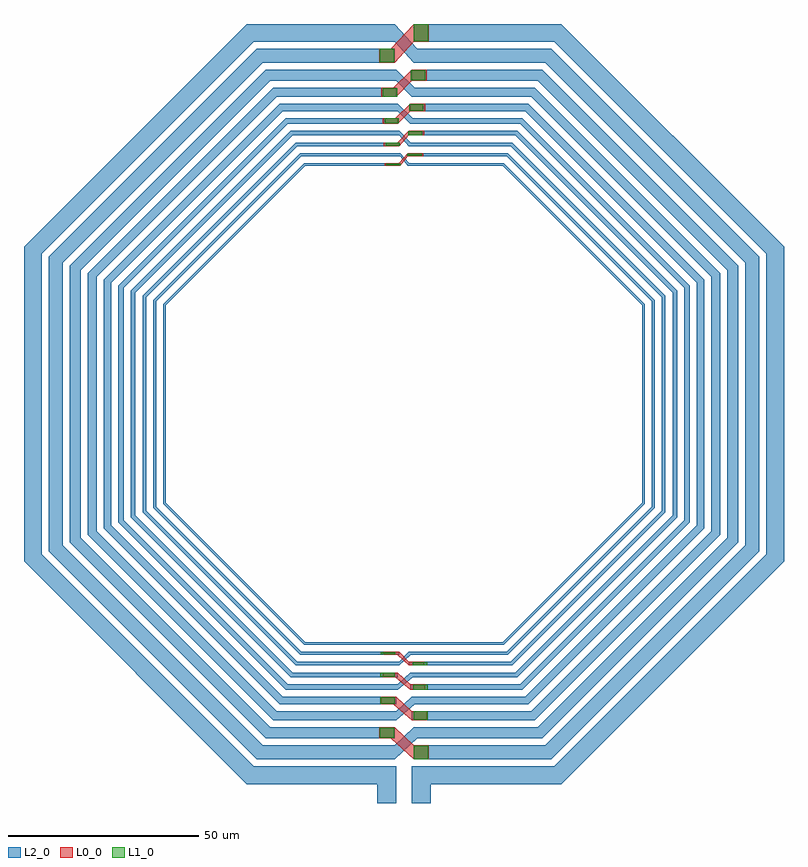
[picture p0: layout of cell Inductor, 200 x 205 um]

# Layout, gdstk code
import gdstk
lib = gdstk.Library(unit=1e-6, precision=1e-09)
def R(c, l, rs):  # rectangles x0, y0, x1, y1
    for r in rs: c.add(gdstk.rectangle(r[:2], r[2:], *l))
def P(c, l, *ps):  # polygons
    for p in ps: c.add(gdstk.Polygon(p, *l))
L0_0 = (0, 0)
L1_0 = (1, 0)
L2_0 = (2, 0)

inductor = lib.new_cell('Inductor')
P(inductor, L0_0, [(6.5,95.381),(6.5,100),(2.5,100),(-3.5,93.533),(-6.5,93.533),(-6.5,89.837),(-2.5,89.837),(2.5,95.381)],
  [(6,85.033),(6,87.99),(2,87.99),(-2.8,83.185),(-6,83.185),(-6,80.82),(-2,80.82),(2,85.033)],
  [(5.6,77.08),(5.6,78.973),(1.6,78.973),(-2.24,75.233),(-5.6,75.233),(-5.6,73.719),(-1.6,73.719),(1.6,77.08)],
  [(5.28,70.66),(5.28,71.871),(1.28,71.871),(-1.792,68.812),(-5.28,68.812),(-5.28,67.844),(-1.28,67.844),(1.28,70.66)],
  [(5.024,65.221),(5.024,65.996),(1.024,65.996),(-1.434,63.373),(-5.024,63.373),(-5.024,62.753),(-1.024,62.753),(1.024,65.221)],
  [(6.5,-89.837),(6.5,-93.533),(2.5,-93.533),(-3.5,-87.99),(-6.5,-87.99),(-6.5,-85.033),(-2.5,-85.033),(2.5,-89.837)],
  [(6,-80.82),(6,-83.185),(2,-83.185),(-2.8,-78.973),(-6,-78.973),(-6,-77.08),(-2,-77.08),(2,-80.82)],
  [(5.6,-73.719),(5.6,-75.233),(1.6,-75.233),(-2.24,-71.871),(-5.6,-71.871),(-5.6,-70.66),(-1.6,-70.66),(1.6,-73.719)],
  [(5.28,-67.844),(5.28,-68.812),(1.28,-68.812),(-1.792,-65.996),(-5.28,-65.996),(-5.28,-65.221),(-1.28,-65.221),(1.28,-67.844)])
R(inductor, L1_0, [(2.6,-93.433,6.4,-89.937), (-6.4,-87.89,-2.6,-85.133), (2.5,-83.085,6.3,-80.92), (-6.3,-78.873,-2.5,-77.18), (2.4,-75.133,6.2,-73.819), (-6.2,-71.771,-2.4,-70.76), (2.3,-68.712,6.1,-67.944), (-6.1,-65.896,-2.3,-65.321), (-4.719,62.853,-0.919,63.273), (0.919,65.321,4.719,65.896), (-4.855,67.944,-1.055,68.712), (1.055,70.76,4.855,71.771), (-5.124,73.819,-1.324,75.133), (1.324,77.18,5.124,78.873), (-5.6,80.92,-1.8,83.085), (1.8,85.133,5.6,87.89), (-6.4,89.937,-2.6,93.433), (2.6,95.481,6.4,99.9)])
R(inductor, L2_0, [(-37.212,-93.533,-2.5,-89.837), (2.5,-93.533,37.212,-89.837), (-35.222,-87.99,-2.5,-85.033), (2.5,-87.99,35.222,-85.033), (-33.477,-83.185,-2,-80.82), (2,-83.185,33.477,-80.82), (-31.928,-78.973,-2,-77.08), (2,-78.973,31.928,-77.08), (-30.535,-75.233,-1.6,-73.719), (1.6,-75.233,30.535,-73.719), (-29.268,-71.871,-1.6,-70.66), (1.6,-71.871,29.268,-70.66), (-28.102,-68.812,-1.28,-67.844), (1.28,-68.812,28.102,-67.844), (-27.015,-65.996,-1.28,-65.221), (1.28,-65.996,27.015,-65.221), (-25.993,-63.373,25.993,-62.753), (-25.993,62.753,-1.024,63.373), (1.024,62.753,25.993,63.373), (-27.015,65.221,-1.024,65.996), (1.024,65.221,27.015,65.996), (-28.102,67.844,-1.28,68.812), (1.28,67.844,28.102,68.812), (-29.268,70.66,-1.28,71.871), (1.28,70.66,29.268,71.871), (-30.535,73.719,-1.6,75.233), (1.6,73.719,30.535,75.233), (-31.928,77.08,-1.6,78.973), (1.6,77.08,31.928,78.973), (-33.477,80.82,-2,83.185), (2,80.82,33.477,83.185), (-35.222,85.033,-2,87.99), (2,85.033,35.222,87.99), (-37.212,89.837,-2.5,93.533), (2.5,89.837,37.212,93.533), (-39.508,95.381,-2.5,100), (2.5,95.381,39.508,100)])
P(inductor, L2_0, [(-41.421,100),(-100,41.421),(-100,-41.421),(-41.421,-100),(-39.508,-100),(-39.508,-95.381),(-95.381,-39.508),(-95.381,39.508),(-39.508,95.381),(-39.508,100)],
  [(41.421,-100),(100,-41.421),(100,41.421),(41.421,100),(39.508,100),(39.508,95.381),(95.381,39.508),(95.381,-39.508),(39.508,-95.381),(39.508,-100)],
  [(-38.743,93.533),(-93.533,38.743),(-93.533,-38.743),(-38.743,-93.533),(-37.212,-93.533),(-37.212,-89.837),(-89.837,-37.212),(-89.837,37.212),(-37.212,89.837),(-37.212,93.533)],
  [(38.743,-93.533),(93.533,-38.743),(93.533,38.743),(38.743,93.533),(37.212,93.533),(37.212,89.837),(89.837,37.212),(89.837,-37.212),(37.212,-89.837),(37.212,-93.533)],
  [(-36.446,87.99),(-87.99,36.446),(-87.99,-36.446),(-36.446,-87.99),(-35.222,-87.99),(-35.222,-85.033),(-85.033,-35.222),(-85.033,35.222),(-35.222,85.033),(-35.222,87.99)],
  [(36.446,-87.99),(87.99,-36.446),(87.99,36.446),(36.446,87.99),(35.222,87.99),(35.222,85.033),(85.033,35.222),(85.033,-35.222),(35.222,-85.033),(35.222,-87.99)],
  [(-34.457,83.185),(-83.185,34.457),(-83.185,-34.457),(-34.457,-83.185),(-33.477,-83.185),(-33.477,-80.82),(-80.82,-33.477),(-80.82,33.477),(-33.477,80.82),(-33.477,83.185)],
  [(34.457,-83.185),(83.185,-34.457),(83.185,34.457),(34.457,83.185),(33.477,83.185),(33.477,80.82),(80.82,33.477),(80.82,-33.477),(33.477,-80.82),(33.477,-83.185)],
  [(-32.711,78.973),(-78.973,32.711),(-78.973,-32.711),(-32.711,-78.973),(-31.928,-78.973),(-31.928,-77.08),(-77.08,-31.928),(-77.08,31.928),(-31.928,77.08),(-31.928,78.973)],
  [(32.711,-78.973),(78.973,-32.711),(78.973,32.711),(32.711,78.973),(31.928,78.973),(31.928,77.08),(77.08,31.928),(77.08,-31.928),(31.928,-77.08),(31.928,-78.973)],
  [(-31.162,75.233),(-75.233,31.162),(-75.233,-31.162),(-31.162,-75.233),(-30.535,-75.233),(-30.535,-73.719),(-73.719,-30.535),(-73.719,30.535),(-30.535,73.719),(-30.535,75.233)],
  [(31.162,-75.233),(75.233,-31.162),(75.233,31.162),(31.162,75.233),(30.535,75.233),(30.535,73.719),(73.719,30.535),(73.719,-30.535),(30.535,-73.719),(30.535,-75.233)],
  [(-29.77,71.871),(-71.871,29.77),(-71.871,-29.77),(-29.77,-71.871),(-29.268,-71.871),(-29.268,-70.66),(-70.66,-29.268),(-70.66,29.268),(-29.268,70.66),(-29.268,71.871)],
  [(29.77,-71.871),(71.871,-29.77),(71.871,29.77),(29.77,71.871),(29.268,71.871),(29.268,70.66),(70.66,29.268),(70.66,-29.268),(29.268,-70.66),(29.268,-71.871)],
  [(-28.503,68.812),(-68.812,28.503),(-68.812,-28.503),(-28.503,-68.812),(-28.102,-68.812),(-28.102,-67.844),(-67.844,-28.102),(-67.844,28.102),(-28.102,67.844),(-28.102,68.812)],
  [(28.503,-68.812),(68.812,-28.503),(68.812,28.503),(28.503,68.812),(28.102,68.812),(28.102,67.844),(67.844,28.102),(67.844,-28.102),(28.102,-67.844),(28.102,-68.812)],
  [(-27.336,65.996),(-65.996,27.336),(-65.996,-27.336),(-27.336,-65.996),(-27.015,-65.996),(-27.015,-65.221),(-65.221,-27.015),(-65.221,27.015),(-27.015,65.221),(-27.015,65.996)],
  [(27.336,-65.996),(65.996,-27.336),(65.996,27.336),(27.336,65.996),(27.015,65.996),(27.015,65.221),(65.221,27.015),(65.221,-27.015),(27.015,-65.221),(27.015,-65.996)],
  [(-26.25,63.373),(-63.373,26.25),(-63.373,-26.25),(-26.25,-63.373),(-25.993,-63.373),(-25.993,-62.753),(-62.753,-25.993),(-62.753,25.993),(-25.993,62.753),(-25.993,63.373)],
  [(26.25,-63.373),(63.373,-26.25),(63.373,26.25),(26.25,63.373),(25.993,63.373),(25.993,62.753),(62.753,25.993),(62.753,-25.993),(25.993,-62.753),(25.993,-63.373)],
  [(2,-105),(7,-105),(7,-100),(39.508,-100),(39.508,-95.381),(2,-95.381)],
  [(-2,-105),(-7,-105),(-7,-100),(-39.508,-100),(-39.508,-95.381),(-2,-95.381)],
  [(-2.5,100),(3.5,93.533),(3.5,89.837),(2.5,89.837),(-2.5,95.381)],
  [(-2,87.99),(2.8,83.185),(2.8,80.82),(2,80.82),(-2,85.033)],
  [(-1.6,78.973),(2.24,75.233),(2.24,73.719),(1.6,73.719),(-1.6,77.08)],
  [(-1.28,71.871),(1.792,68.812),(1.792,67.844),(1.28,67.844),(-1.28,70.66)],
  [(-1.024,65.996),(1.434,63.373),(1.434,62.753),(1.024,62.753),(-1.024,65.221)],
  [(-2.5,-93.533),(3.5,-87.99),(3.5,-85.033),(2.5,-85.033),(-2.5,-89.837)],
  [(-2,-83.185),(2.8,-78.973),(2.8,-77.08),(2,-77.08),(-2,-80.82)],
  [(-1.6,-75.233),(2.24,-71.871),(2.24,-70.66),(1.6,-70.66),(-1.6,-73.719)],
  [(-1.28,-68.812),(1.792,-65.996),(1.792,-65.221),(1.28,-65.221),(-1.28,-67.844)])

lib.write_gds('Inductor.gds')
